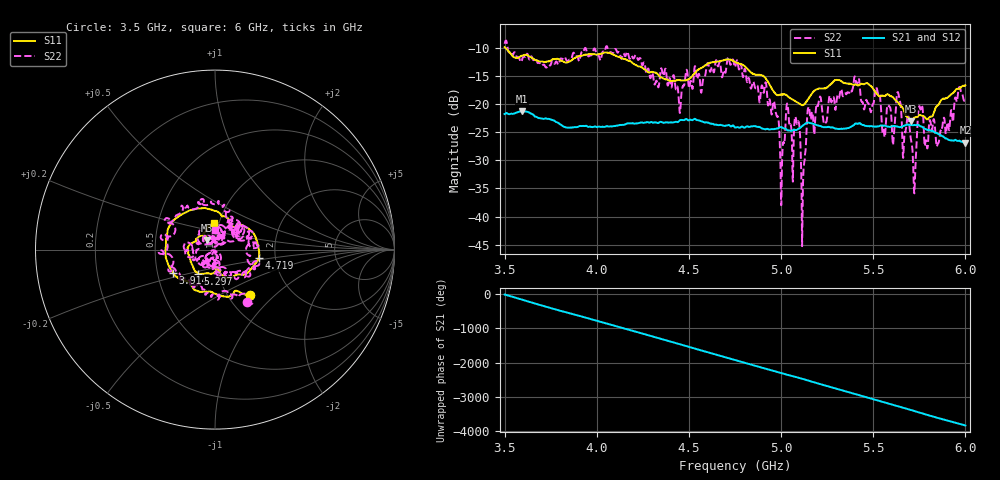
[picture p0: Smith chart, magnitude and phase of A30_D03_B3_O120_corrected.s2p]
! Created with skrf 1.9.0 (http://scikit-rf.org).
# Hz S RI R 50.0
!freq ReS11 ImS11 ReS21 ImS21 ReS12 ImS12 ReS22 ImS22
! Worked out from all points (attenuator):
!   1601 points, 3.5 GHz to 6 GHz, reference 50 ohm
!   highest |S21| = -21.30 dB at 3.592 GHz (marker M1); lowest = -26.9 dB at 6 GHz (marker M2)
!   lowest |S11| = -23.1 dB at 5.706 GHz (marker M3), VSWR 1.15, Z = 45.3 + j4.74 ohm
!   |S11| at or under -10 dB: 3.503 GHz to end of sweep
!   |S22| runs from -45.3 to -8.7 dB; largest |S21 - S12| = 0.001
!   S11 on the Smith chart (normalised r, x): 3.5 GHz: 1.26, -0.71; 3.914 GHz: 0.60, -0.17; 4.719 GHz: 1.64, -0.16; 5.297 GHz: 0.80, -0.22; 6 GHz: 0.95, +0.28
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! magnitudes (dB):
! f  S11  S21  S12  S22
! 3.5 GHz  -9.9  -21.8  -21.8  -9.3
! 3.592 GHz  -11.5  -21.3  -21.3  -12.4
! 3.914 GHz  -11.5  -23.9  -23.9  -11.1
! 3.917 GHz  -11.5  -23.9  -23.9  -10.8
! 4.334 GHz  -14.9  -23.4  -23.3  -17.1
! 4.719 GHz  -12.1  -23.8  -23.8  -12.2
! 4.75 GHz  -12.6  -24.2  -24.1  -13.5
! 4.969 GHz  -18.2  -24.4  -24.4  -21.0
! 5.005 GHz  -18.3  -24.1  -24.2  -31.1
! 5.033 GHz  -18.5  -24.6  -24.6  -19.9
! 5.088 GHz  -19.7  -24.6  -24.5  -23.4
! 5.119 GHz  -20.2  -23.8  -23.7  -34.4
! 5.145 GHz  -19.2  -23.3  -23.3  -20.9
! 5.167 GHz  -18.2  -23.5  -23.4  -21.5
! 5.297 GHz  -15.8  -24.4  -24.4  -20.7
! 5.584 GHz  -18.4  -24.0  -24.0  -20.3
! 5.638 GHz  -19.9  -24.1  -24.0  -18.3
! 5.706 GHz  -23.1  -23.8  -23.7  -26.8
! 5.725 GHz  -22.4  -23.7  -23.7  -34.5
! 5.756 GHz  -22.0  -24.0  -23.9  -21.0
! 5.85 GHz  -20.3  -25.3  -25.2  -27.1
! 6 GHz  -16.7  -26.9  -26.8  -19.4
